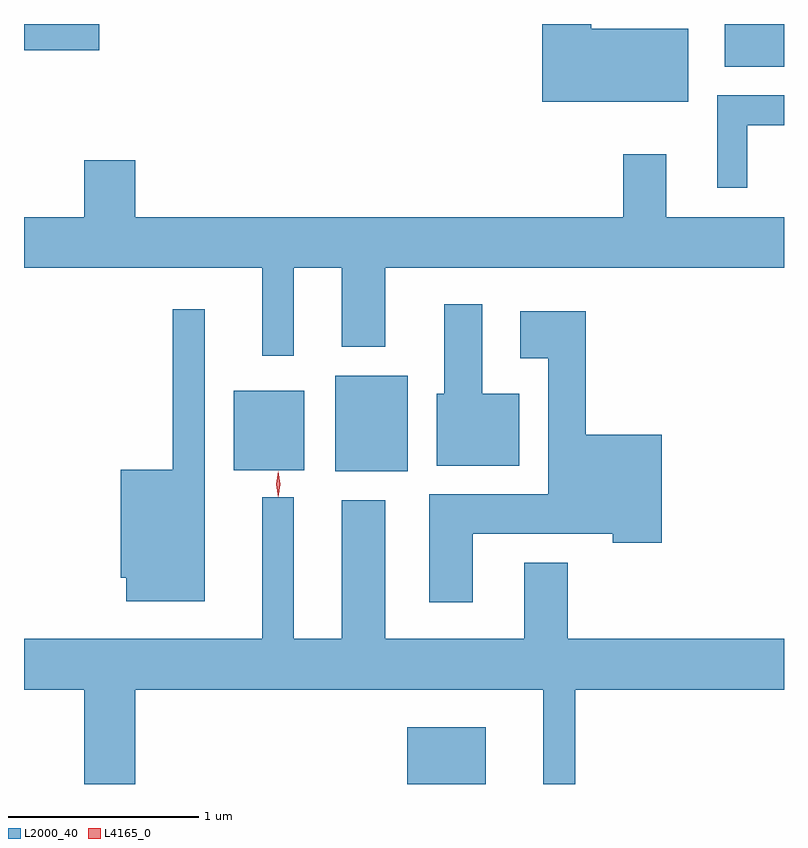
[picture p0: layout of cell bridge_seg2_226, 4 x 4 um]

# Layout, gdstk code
import gdstk
lib = gdstk.Library(unit=1e-6, precision=1e-09)
def R(c, l, rs):  # rectangles x0, y0, x1, y1
    for r in rs: c.add(gdstk.rectangle(r[:2], r[2:], *l))
def P(c, l, *ps):  # polygons
    for p in ps: c.add(gdstk.Polygon(p, *l))
L2000_40 = (2000, 40)
L4165_0 = (4165, 0)

bridge_seg2_226 = lib.new_cell('bridge_seg2_226')
R(bridge_seg2_226, L2000_40, [(536.456,1074.46,536.869,1074.759), (536.076,1076.106,536.459,1076.609), (535.541,1076.111,535.914,1076.529), (538.126,1078.236,538.438,1078.46), (534.438,1078.321,534.834,1078.46)])
P(bridge_seg2_226, L2000_40, [(537.934,1078.434),(537.424,1078.434),(537.424,1078.46),(537.166,1078.46),(537.166,1078.051),(537.934,1078.051)],
  [(538.244,1077.926),(538.438,1077.926),(538.438,1078.084),(538.086,1078.084),(538.086,1077.598),(538.244,1077.598)],
  [(535.859,1077.176),(536.111,1077.176),(536.111,1076.761),(536.339,1076.761),(536.339,1077.176),(538.438,1077.176),(538.438,1077.444),(537.819,1077.444),(537.819,1077.774),(537.591,1077.774),(537.591,1077.444),(535.024,1077.444),(535.024,1077.744),(534.756,1077.744),(534.756,1077.444),(534.438,1077.444),(534.438,1077.176),(535.691,1077.176),(535.691,1076.713),(535.859,1076.713)],
  [(537.044,1076.514),(536.849,1076.514),(536.849,1076.984),(536.651,1076.984),(536.651,1076.514),(536.611,1076.514),(536.611,1076.136),(537.044,1076.136)],
  [(535.389,1076.958),(535.221,1076.958),(535.221,1076.114),(534.946,1076.114),(534.946,1075.546),(534.976,1075.546),(534.976,1075.421),(535.389,1075.421)],
  [(536.799,1075.776),(537.536,1075.776),(537.536,1075.731),(537.794,1075.731),(537.794,1076.299),(537.394,1076.299),(537.394,1076.949),(537.051,1076.949),(537.051,1076.701),(537.196,1076.701),(537.196,1075.984),(536.571,1075.984),(536.571,1075.416),(536.799,1075.416)],
  [(535.024,1074.956),(537.171,1074.956),(537.171,1074.46),(537.339,1074.46),(537.339,1074.956),(538.438,1074.956),(538.438,1075.224),(537.299,1075.224),(537.299,1075.624),(537.071,1075.624),(537.071,1075.224),(536.339,1075.224),(536.339,1075.954),(536.111,1075.954),(536.111,1075.224),(535.859,1075.224),(535.859,1075.968),(535.691,1075.968),(535.691,1075.224),(534.438,1075.224),(534.438,1074.956),(534.756,1074.956),(534.756,1074.46),(535.024,1074.46)])
P(bridge_seg2_226, L4165_0, [(535.775,1075.973),(535.775,1075.974),(535.766,1076.037),(535.776,1076.101),(535.776,1076.102),(535.777,1076.101),(535.786,1076.037),(535.776,1075.974)],
  [(535.775,1075.97),(535.775,1075.97),(535.766,1076.038),(535.776,1076.106),(535.776,1076.106),(535.777,1076.106),(535.786,1076.038),(535.776,1075.97)])

lib.write_gds('bridge_seg2_226.gds')
